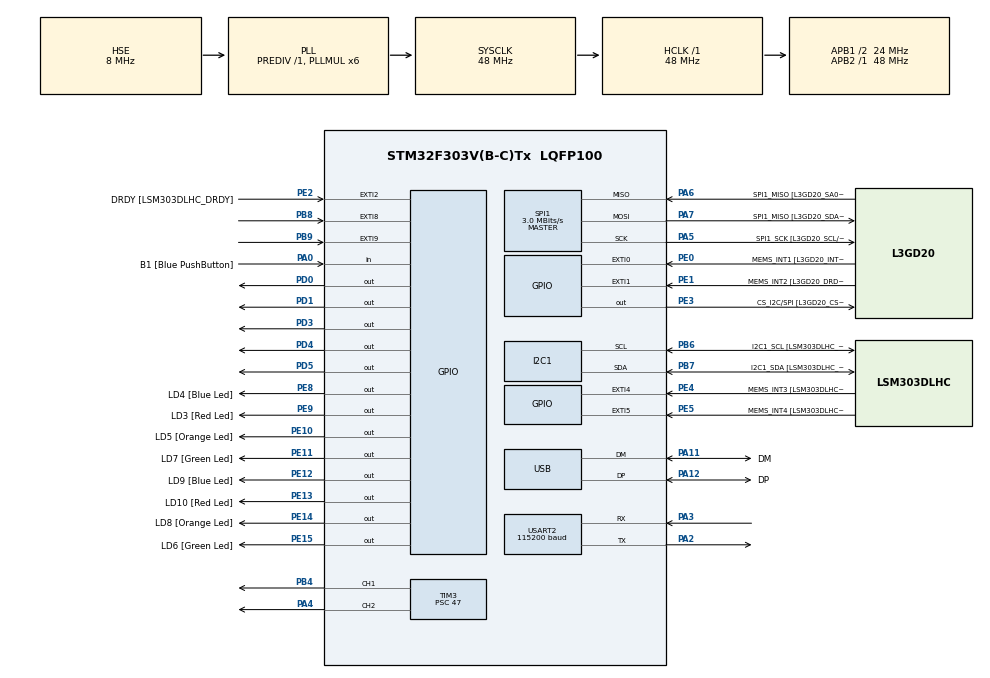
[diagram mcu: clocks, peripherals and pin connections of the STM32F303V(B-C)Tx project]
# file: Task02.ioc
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I2C1.Timing=0x00201D2B
I2C1.Timing-I2C=0x2000090E
Mcu.Family=STM32F3
Mcu.Name=STM32F303V(B-C)Tx
Mcu.Package=LQFP100
NVIC.EXTI9_5_IRQn=true\:0\:2\:false\:false\:true\:true\:true\:true
NVIC.PriorityGroup=NVIC_PRIORITYGROUP_0
NVIC.SPI1_IRQn=true\:0\:0\:false\:false\:true\:true\:true\:true
NVIC.TIM2_IRQn=true\:0\:0\:false\:false\:true\:true\:true\:true
NVIC.TIM3_IRQn=true\:0\:0\:false\:false\:true\:true\:true\:true
PA0.GPIO_Label=B1 [Blue PushButton]
PA0.Signal=GPIO_Input
PA11.GPIO_Label=DM
PA11.Mode=Device
PA11.Signal=USB_DM
PA12.GPIO_Label=DP
PA12.Mode=Device
PA12.Signal=USB_DP
PA13.GPIO_Label=SWDIO
PA13.Mode=Serial_Wire
PA13.Signal=SYS_JTMS-SWDIO
PA14.GPIO_Label=SWCLK
PA14.Mode=Serial_Wire
PA14.Signal=SYS_JTCK-SWCLK
PA2.Mode=Asynchronous
PA2.Signal=USART2_TX
PA3.Mode=Asynchronous
PA3.Signal=USART2_RX
PA4.GPIO_PuPd=GPIO_PULLUP
PA4.Signal=S_TIM3_CH2
PA5.GPIO_Label=SPI1_SCK [L3GD20_SCL/SPC]
PA5.Mode=Full_Duplex_Master
PA5.Signal=SPI1_SCK
PA6.GPIO_Label=SPI1_MISO [L3GD20_SA0/SDO]
PA6.Mode=Full_Duplex_Master
PA6.Signal=SPI1_MISO
PA7.GPIO_Label=SPI1_MISO [L3GD20_SDA/SDI/SDO]
PA7.Mode=Full_Duplex_Master
PA7.Signal=SPI1_MOSI
PB3.GPIO_Label=SWO
PB3.Signal=SYS_JTDO-TRACESWO
PB4.GPIO_PuPd=GPIO_PULLUP
PB4.Signal=S_TIM3_CH1
PB6.GPIO_Label=I2C1_SCL [LSM303DLHC_SCL]
PB6.GPIO_Pu=GPIO_PULLUP
PB6.Mode=I2C
PB6.Signal=I2C1_SCL
PB7.GPIO_Label=I2C1_SDA [LSM303DLHC_SDA]
PB7.GPIO_Pu=GPIO_PULLUP
PB7.Mode=I2C
PB7.Signal=I2C1_SDA
PB8.GPIO_PuPd=GPIO_PULLDOWN
PB8.Signal=GPXTI8
PB9.Signal=GPXTI9
PC14-OSC32_IN.GPIO_Label=OSC32_IN
PC14-OSC32_IN.Signal=RCC_OSC32_IN
PC15-OSC32_OUT.GPIO_Label=OSC32_OUT
PC15-OSC32_OUT.Signal=RCC_OSC32_OUT
PD0.Signal=GPIO_Output
PD1.Signal=GPIO_Output
PD3.Signal=GPIO_Output
PD4.Signal=GPIO_Output
PD5.Signal=GPIO_Output
PE0.GPIO_Label=MEMS_INT1 [L3GD20_INT1]
PE0.GPIO_ModeDefaultEXTI=GPIO_MODE_EVT_RISING
PE0.Signal=GPXTI0
PE1.GPIO_Label=MEMS_INT2 [L3GD20_DRDY/INT2]
PE1.GPIO_ModeDefaultEXTI=GPIO_MODE_EVT_RISING
PE1.Signal=GPXTI1
PE10.GPIO_Label=LD5 [Orange Led]
PE10.Signal=GPIO_Output
PE11.GPIO_Label=LD7 [Green Led]
PE11.Signal=GPIO_Output
PE12.GPIO_Label=LD9 [Blue Led]
PE12.Signal=GPIO_Output
PE13.GPIO_Label=LD10 [Red Led]
PE13.Signal=GPIO_Output
PE14.GPIO_Label=LD8 [Orange Led]
PE14.Signal=GPIO_Output
PE15.GPIO_Label=LD6 [Green Led]
PE15.Signal=GPIO_Output
PE2.GPIO_Label=DRDY [LSM303DLHC_DRDY]
PE2.GPIO_ModeDefaultEXTI=GPIO_MODE_EVT_RISING
PE2.Signal=GPXTI2
PE3.GPIO_Label=CS_I2C/SPI [L3GD20_CS_I2C/SPI]
PE3.Signal=GPIO_Output
PE4.GPIO_Label=MEMS_INT3 [LSM303DLHC_INT1]
PE4.GPIO_ModeDefaultEXTI=GPIO_MODE_EVT_RISING
PE4.Signal=GPXTI4
PE5.GPIO_Label=MEMS_INT4 [LSM303DLHC_INT2]
PE5.GPIO_ModeDefaultEXTI=GPIO_MODE_EVT_RISING
PE5.Signal=GPXTI5
PE8.GPIO_Label=LD4 [Blue Led]
PE8.Signal=GPIO_Output
PE9.GPIO_Label=LD3 [Red Led]
PE9.Signal=GPIO_Output
PF0-OSC_IN.GPIO_Label=OSC_IN
PF0-OSC_IN.Mode=HSE-External-Clock-Source
PF0-OSC_IN.Signal=RCC_OSC_IN
PF1-OSC_OUT.GPIO_Label=OSC_OUT
PF1-OSC_OUT.Signal=RCC_OSC_OUT
ProjectManager.HeapSize=0x200
ProjectManager.StackSize=0x400
ProjectManager.TargetToolchain=CMake
RCC.AHBFreq_Value=48000000
RCC.APB1CLKDivider=RCC_HCLK_DIV2
RCC.APB1Freq_Value=24000000
RCC.APB1TimFreq_Value=48000000
RCC.APB2Freq_Value=48000000
RCC.APB2TimFreq_Value=48000000
RCC.CortexFreq_Value=48000000
RCC.HCLKFreq_Value=48000000
RCC.HSE_VALUE=8000000
RCC.HSI_VALUE=8000000
RCC.LSE_VALUE=32768
RCC.PLLMUL=RCC_PLL_MUL6
RCC.SYSCLKFreq_VALUE=48000000
RCC.SYSCLKSourceVirtual=RCC_SYSCLKSOURCE_PLLCLK
RCC.USBFreq_Value=48000000
SH.S_TIM3_CH1.0=TIM3_CH1,PWM Generation1 CH1
SH.S_TIM3_CH2.0=TIM3_CH2,PWM Generation2 CH2
SPI1.BaudRatePrescaler=SPI_BAUDRATEPRESCALER_16
SPI1.BaudRatePrescaler-Full_Duplex_Master=SPI_BAUDRATEPRESCALER_2
SPI1.CLKPhase=SPI_PHASE_2EDGE
SPI1.CLKPolarity=SPI_POLARITY_HIGH
SPI1.CalculateBaudRate=3.0 MBits/s
SPI1.CalculateBaudRate-Full_Duplex_Master=24.0 MBits/s
SPI1.DataSize=SPI_DATASIZE_8BIT
SPI1.Direction=SPI_DIRECTION_2LINES
SPI1.Mode=SPI_MODE_MASTER
SPI1.Mode-Full_Duplex_Master=SPI_MODE_MASTER
SPI1.VirtualType=VM_MASTER
TIM2.Period=9999
TIM2.Prescaler=47
TIM3.Channel-PWM\ Generation1\ CH1=TIM_CHANNEL_1
TIM3.Channel-PWM\ Generation2\ CH2=TIM_CHANNEL_2
TIM3.Period=999
TIM3.Prescaler=47
USART2.BaudRate=115200
USART2.VirtualMode-Asynchronous=VM_ASYNC
VP_TIM2_VS_ClockSourceINT.Mode=Internal
board=STM32F3DISCOVERY

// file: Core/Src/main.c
/* USER CODE BEGIN Header */
/**
  ******************************************************************************
  * @file           : main.c
  * @brief          : Main program body
  ******************************************************************************
  * @attention
  *
  * Copyright (c) 2026 STMicroelectronics.
  * All rights reserved.
  *
  * This software is licensed under terms that can be found in the LICENSE file
  * in the root directory of this software component.
  * If no LICENSE file comes with this software, it is provided AS-IS.
  *
  ******************************************************************************
  */
/* USER CODE END Header */
#include "main.h"
#include "pid.h"
#include <string.h>
#include <stdio.h>
#include <stdlib.h>
#include <math.h>

I2C_HandleTypeDef hi2c1;

SPI_HandleTypeDef hspi1;

TIM_HandleTypeDef htim2;
TIM_HandleTypeDef htim3;

UART_HandleTypeDef huart2;

PCD_HandleTypeDef hpcd_USB_FS;

void SystemClock_Config(void);
static void MX_GPIO_Init(void);
static void MX_I2C1_Init(void);
static void MX_SPI1_Init(void);
static void MX_TIM2_Init(void);
static void MX_TIM3_Init(void);
static void MX_USART2_UART_Init(void);
static void MX_USB_PCD_Init(void);

/* USER CODE BEGIN 0 */
#define DevAddress 0x19 << 1
#define OUT_X_L  0x28
# define CTRL_REG1 0x20
# define CTRL_REG1_VAL 0b10001111
# define CTRL_REG4 0x23
# define CTRL_REG4_VAL 0b00000000 // FS [1:0] = 00 => +/- 245 dps

// ENCODER DEFINES
#define WHEEL_DIAMETER_MM   65.0f       // change once you measure
#define WHEEL_CIRCUMFERENCE (3.14159f * WHEEL_DIAMETER_MM)
#define PPR         11
#define NOISE_MULT  10      // adjust this based on what you measured above

// Variables to store raw and processed sensor data
float acceleration_x, acceleration_tilt_x, acceleration_y, acceleration_tilt_y, acceleration_z, acceleration_tilt_z;
int16_t gyro_x, gyro_y, gyro_z;
float acc_offset_x = 0, acc_offset_y = 0, acc_offset_z = 0;
int16_t gyro_offset_x = 0, gyro_offset_y = 0, gyro_offset_z = 0;
float angle_x = 0, angle_y = 0, angle_z = 0;
volatile float dt = 0.01f;  // global time step for complementary filter
volatile int display_flag = 0; // Flag to indicate when to print data
PID_Controller pid;
uint8_t direction;
volatile int16_t pwm;

// ENCODER VARIABLES
// PB8 = Left encoder
// PB9 = Right encoder
// Change pins in encoder_init() if your wiring is different
volatile int32_t ticks_left  = 0;
volatile int32_t ticks_right = 0;

float encoder_distance_left_mm(void)
{
    int32_t t;
    __disable_irq();
    t = ticks_left;
    __enable_irq();
    return ((float)t / (PPR * NOISE_MULT)) * WHEEL_CIRCUMFERENCE;
}

float encoder_distance_right_mm(void)
{
    int32_t t;
    __disable_irq();
    t = ticks_right;
    __enable_irq();
    return ((float)t / (PPR * NOISE_MULT)) * WHEEL_CIRCUMFERENCE;
}
// ENCODER FUNCTIONS
void encoder_reset(void)
{
    __disable_irq();          // atomic clear — ticks are written in ISR
    ticks_left  = 0;
    ticks_right = 0;
    __enable_irq();
}

float encoder_distance_avg_mm(void)
{
    return (encoder_distance_left_mm() + encoder_distance_right_mm()) / 2.0f;
}

// ENCODER ISR
// Handles PB8 (left) and PB9 (right) rising-edge interrupts via EXTI9_5
void EXTI9_5_IRQHandler(void)
{
    if (__HAL_GPIO_EXTI_GET_IT(GPIO_PIN_8))
    {
        ticks_left++;
        __HAL_GPIO_EXTI_CLEAR_IT(GPIO_PIN_8);
    }

    if (__HAL_GPIO_EXTI_GET_IT(GPIO_PIN_9))
    {
        ticks_right++;
        __HAL_GPIO_EXTI_CLEAR_IT(GPIO_PIN_9);
    }
}

// Gyro initialization function
void gyro_init ()
{
  // Power on + enable all axes
  uint8_t tx [2] = {CTRL_REG1 , CTRL_REG1_VAL};
  HAL_GPIO_WritePin(GPIOE, GPIO_PIN_3, GPIO_PIN_RESET);
  HAL_SPI_Transmit(&hspi1, tx , 2, HAL_MAX_DELAY);
  HAL_GPIO_WritePin(GPIOE, GPIO_PIN_3, GPIO_PIN_SET);

  // Set full scale range
  uint8_t ttx[2] = {CTRL_REG4, CTRL_REG4_VAL};
  HAL_GPIO_WritePin(GPIOE, GPIO_PIN_3, GPIO_PIN_RESET);
  HAL_SPI_Transmit(&hspi1, ttx, 2, HAL_MAX_DELAY);
  HAL_GPIO_WritePin(GPIOE, GPIO_PIN_3, GPIO_PIN_SET);
}

// Reading gyro data for all axis
void gyro_read_all(int16_t *x, int16_t *y, int16_t *z)
{
    uint8_t tx = OUT_X_L | 0x80 | 0x40;  // read bit + auto-increment bit
    uint8_t rx[6] = {0};

    HAL_GPIO_WritePin(GPIOE, GPIO_PIN_3, GPIO_PIN_RESET);  // CS LOW once
    HAL_SPI_Transmit(&hspi1, &tx, 1, HAL_MAX_DELAY);       // send start register
    HAL_SPI_Receive(&hspi1, rx, 6, HAL_MAX_DELAY);         // read all 6 bytes
    HAL_GPIO_WritePin(GPIOE, GPIO_PIN_3, GPIO_PIN_SET);    // CS HIGH once

    *x = (int16_t)((rx[1] << 8) | rx[0]);  // XH | XL
    *y = (int16_t)((rx[3] << 8) | rx[2]);  // YH | YL
    *z = (int16_t)((rx[5] << 8) | rx[4]);  // ZH | ZL
}

// Reading accelerometer data for all axis
#define CTRL_REG1_A 0x20
#define CTRL_REG4_A 0x23
void Init_LSM()
{
  uint8_t write_reg_1 = 0x67;
  uint8_t write_reg_4 = 0x00;
  HAL_I2C_Mem_Write(&hi2c1, DevAddress, CTRL_REG1_A, I2C_MEMADD_SIZE_8BIT, &write_reg_1, sizeof(write_reg_1), 100);
  HAL_I2C_Mem_Write(&hi2c1, DevAddress, CTRL_REG4_A, I2C_MEMADD_SIZE_8BIT, &write_reg_4, sizeof(write_reg_4), 100);
}

void Read_LSM()
{
  uint8_t low;
  uint8_t high;

  // Read raw X-axis acceleration data
  HAL_I2C_Mem_Read(&hi2c1, DevAddress, 0x28, I2C_MEMADD_SIZE_8BIT, &low, sizeof(low), 100);
  HAL_I2C_Mem_Read(&hi2c1, DevAddress, 0x29, I2C_MEMADD_SIZE_8BIT, &high, sizeof(high), 100);
  int16_t raw_x = (high << 8) | low;

  // Read raw Y-axis acceleration data
  HAL_I2C_Mem_Read(&hi2c1, DevAddress, 0x2A | 0x80, I2C_MEMADD_SIZE_8BIT, &low, 1, HAL_MAX_DELAY);
  HAL_I2C_Mem_Read(&hi2c1, DevAddress, 0x2B | 0x80, I2C_MEMADD_SIZE_8BIT, &high, 1, HAL_MAX_DELAY);
  int16_t raw_y = (int16_t)((high << 8) | low);

  // Read raw Z-axis acceleration data
  HAL_I2C_Mem_Read(&hi2c1, DevAddress, 0x2C | 0x80, I2C_MEMADD_SIZE_8BIT, &low, 1, HAL_MAX_DELAY);
  HAL_I2C_Mem_Read(&hi2c1, DevAddress, 0x2D | 0x80, I2C_MEMADD_SIZE_8BIT, &high, 1, HAL_MAX_DELAY);
  int16_t raw_z = (int16_t)((high << 8) | low);

  // Convert raw data to acceleration in g's
  acceleration_x = (raw_x * 3.9) / 1000;
  acceleration_x -= acc_offset_x;

  acceleration_y = (raw_y * 3.9) / 1000;
  acceleration_y -= acc_offset_y;

  acceleration_z = (raw_z * 3.9) / 1000;
  acceleration_z -= acc_offset_z;

  // Calculate tilt angles using atan2 and convert to degrees
  float accel_angle_x = atan2(acceleration_y, acceleration_z);
  acceleration_tilt_x = accel_angle_x * 57.2958; // Convert to degrees

  float accel_angle_y = atan2(acceleration_x, acceleration_z);
  acceleration_tilt_y = accel_angle_y * 57.2958; // Convert to degrees

  float accel_angle_z = atan2(acceleration_x, acceleration_y);
  acceleration_tilt_z = accel_angle_z * 57.2958; // Convert to degrees

}
void Print_LSM()
{
  char buffer[128];
  float gyro_x_dps = gyro_x * 0.00875f;
  float gyro_y_dps = gyro_y * 0.00875f;
  float gyro_z_dps = gyro_z * 0.00875f;
  sprintf(buffer, "%.2f,%.2f,%.2f,%.2f,%.2f,%.2f\r\n", gyro_x_dps, acceleration_x, gyro_y_dps, acceleration_y, gyro_z_dps, acceleration_z);
  HAL_UART_Transmit(&huart2, (uint8_t*)buffer, strlen(buffer), HAL_MAX_DELAY);
}
void offset_LSM()
{
  for (int i = 0; i < 20; i++)
  {
    Read_LSM();
    gyro_read_all(&gyro_x, &gyro_y, &gyro_z);
    acc_offset_x += acceleration_x;
    gyro_offset_x += gyro_x;
    acc_offset_y += acceleration_y;
    gyro_offset_y += gyro_y;
    acc_offset_z += acceleration_z;
    gyro_offset_z += gyro_z;
    HAL_Delay(10);
  }
  gyro_offset_x /= 20;
  acc_offset_x /= 20;
  gyro_offset_y /= 20;
  acc_offset_y /= 20;
  gyro_offset_z /= 20;
  acc_offset_z /= 20;
}

void angle_calculation(){
  // Complementary filter parameters
  float alpha = 0.98; // Filter coefficient
  // Gyro_dps
  float gyro_x_dps = gyro_x * 0.00875f;
  float gyro_y_dps = gyro_y * 0.00875f;
  float gyro_z_dps = gyro_z * 0.00875f;
  // Calculate angles from complementary filter
  angle_x = alpha * (angle_x + (gyro_x_dps) * dt) + (0.02 * (-acceleration_tilt_x));
  angle_y = alpha * (angle_y + gyro_y_dps * dt) + (0.02 * acceleration_tilt_y);
  angle_z = alpha * (angle_z + gyro_z_dps * dt) + (0.02 * acceleration_tilt_z);
}
void print_angle(){
  char buffer[128];
  sprintf(buffer, "%.2f,%.2f,%.2f\r\n", angle_x, angle_y, angle_z);
  HAL_UART_Transmit(&huart2, (uint8_t*)buffer, strlen(buffer), HAL_MAX_DELAY);
}
// Forward Motor
void forward_motor(uint16_t pwm_value){

    HAL_GPIO_WritePin(GPIOD, GPIO_PIN_4, GPIO_PIN_SET);
    HAL_GPIO_WritePin(GPIOD, GPIO_PIN_5, GPIO_PIN_RESET);
    HAL_GPIO_WritePin(GPIOD, GPIO_PIN_1, GPIO_PIN_RESET);
    HAL_GPIO_WritePin(GPIOD, GPIO_PIN_3, GPIO_PIN_SET);

    uint32_t ARR = pwm_value;
    __HAL_TIM_SET_COMPARE(&htim3, TIM_CHANNEL_1 , ARR);
    __HAL_TIM_SET_COMPARE(&htim3, TIM_CHANNEL_2 , ARR);
}
// Backward Motor
void backward_motor(uint16_t pwm_value){
    HAL_GPIO_WritePin(GPIOD, GPIO_PIN_4, GPIO_PIN_RESET);
    HAL_GPIO_WritePin(GPIOD, GPIO_PIN_5, GPIO_PIN_SET);
    HAL_GPIO_WritePin(GPIOD, GPIO_PIN_1, GPIO_PIN_SET);
    HAL_GPIO_WritePin(GPIOD, GPIO_PIN_3, GPIO_PIN_RESET);

    uint32_t ARR = pwm_value;
    __HAL_TIM_SET_COMPARE(&htim3, TIM_CHANNEL_1 , ARR);
    __HAL_TIM_SET_COMPARE(&htim3, TIM_CHANNEL_2 , ARR);
}

/* Timer ISR (runs at 100 Hz) */
void HAL_TIM_PeriodElapsedCallback(TIM_HandleTypeDef *htim)
{
    if (htim->Instance == TIM2)
    {

        static int counter = 0;

        // Pin toggle to check frequency on oscilloscope
        HAL_GPIO_TogglePin(GPIOD, GPIO_PIN_0);

        // Step 1: read sensors
        Read_LSM();
        gyro_read_all(&gyro_x, &gyro_y, &gyro_z);

        // Step 2: complementary filter
        angle_calculation();

        // PID
        pwm = PID_Compute(&pid, angle_y + 2.2f, &direction);
        // Step 3: control motors
        if (pwm >= 1000) pwm = 999;

        if (direction == 1) // forward
        {
            forward_motor(pwm);
        }
        else // backward
        {
            backward_motor(pwm);
        }

        // Pin toggle to check frequency on oscilloscope
        HAL_GPIO_TogglePin(GPIOD, GPIO_PIN_0);

        // Step 4: flag UART every 10 calls = 10Hz
        counter++;
        if (counter >= 20)
        {
            display_flag = 1;
            counter = 0;
        }
    }
}

void configure_timer_interrupt(uint32_t freq_hz)
{
    __HAL_TIM_SET_AUTORELOAD(&htim2, (1000000 / freq_hz) - 1);
    dt = 1.0f / freq_hz;
}

/* USER CODE END 0 */

int main(void)
{

  /* MCU Configuration--------------------------------------------------------*/

  /* Reset of all peripherals, Initializes the Flash interface and the Systick. */
  HAL_Init();

  /* Configure the system clock */
  SystemClock_Config();

  /* Initialize all configured peripherals */
  MX_GPIO_Init();
  MX_I2C1_Init();
  MX_SPI1_Init();
  MX_TIM2_Init();
  MX_TIM3_Init();
  MX_USART2_UART_Init();
  MX_USB_PCD_Init();
  /* USER CODE BEGIN 2 */
  Init_LSM();
  HAL_Delay(100);
  gyro_init();
  HAL_Delay(100);
  offset_LSM();
  PID_Init(&pid, 45.0f, 1.5f, 9.0f, dt, -1000, 1000, 0.1f);
  configure_timer_interrupt(100);  // set to 100Hz
  HAL_TIM_Base_Start_IT(&htim2);
  HAL_TIM_PWM_Start(&htim3, TIM_CHANNEL_1);
  HAL_TIM_PWM_Start(&htim3, TIM_CHANNEL_2);
  /* USER CODE END 2 */

  /* Infinite loop */
  /* USER CODE BEGIN WHILE */
  while (1)
  {
    if (display_flag)
    {
        display_flag = 0;

        // Print angle and encoder distance for monitoring
        char buffer[128];
        float dist_l = encoder_distance_left_mm();
        float dist_r = encoder_distance_right_mm();
        float dist_avg = encoder_distance_avg_mm();

        sprintf(buffer, "angle:%.2f pwm:%d L:%.1fmm R:%.1fmm avg:%.1fmm\r\n",
                angle_y, pwm, dist_l, dist_r, dist_avg);

        HAL_UART_Transmit(&huart2, (uint8_t*)buffer, strlen(buffer), HAL_MAX_DELAY);
    }
  }
  /* USER CODE END 3 */
}

void SystemClock_Config(void)
{
  RCC_OscInitTypeDef RCC_OscInitStruct = {0};
  RCC_ClkInitTypeDef RCC_ClkInitStruct = {0};
  RCC_PeriphCLKInitTypeDef PeriphClkInit = {0};

  /** Initializes the RCC Oscillators according to the specified parameters
  * in the RCC_OscInitTypeDef structure.
  */
  RCC_OscInitStruct.OscillatorType = RCC_OSCILLATORTYPE_HSI|RCC_OSCILLATORTYPE_HSE;
  RCC_OscInitStruct.HSEState = RCC_HSE_BYPASS;
  RCC_OscInitStruct.HSEPredivValue = RCC_HSE_PREDIV_DIV1;
  RCC_OscInitStruct.HSIState = RCC_HSI_ON;
  RCC_OscInitStruct.HSICalibrationValue = RCC_HSICALIBRATION_DEFAULT;
  RCC_OscInitStruct.PLL.PLLState = RCC_PLL_ON;
  RCC_OscInitStruct.PLL.PLLSource = RCC_PLLSOURCE_HSE;
  RCC_OscInitStruct.PLL.PLLMUL = RCC_PLL_MUL6;
  if (HAL_RCC_OscConfig(&RCC_OscInitStruct) != HAL_OK)
  {
    Error_Handler();
  }

  /** Initializes the CPU, AHB and APB buses clocks
  */
  RCC_ClkInitStruct.ClockType = RCC_CLOCKTYPE_HCLK|RCC_CLOCKTYPE_SYSCLK
                              |RCC_CLOCKTYPE_PCLK1|RCC_CLOCKTYPE_PCLK2;
  RCC_ClkInitStruct.SYSCLKSource = RCC_SYSCLKSOURCE_PLLCLK;
  RCC_ClkInitStruct.AHBCLKDivider = RCC_SYSCLK_DIV1;
  RCC_ClkInitStruct.APB1CLKDivider = RCC_HCLK_DIV2;
  RCC_ClkInitStruct.APB2CLKDivider = RCC_HCLK_DIV1;

  if (HAL_RCC_ClockConfig(&RCC_ClkInitStruct, FLASH_LATENCY_1) != HAL_OK)
  {
    Error_Handler();
  }
  PeriphClkInit.PeriphClockSelection = RCC_PERIPHCLK_USB|RCC_PERIPHCLK_USART2
                              |RCC_PERIPHCLK_I2C1;
  PeriphClkInit.Usart2ClockSelection = RCC_USART2CLKSOURCE_PCLK1;
  PeriphClkInit.I2c1ClockSelection = RCC_I2C1CLKSOURCE_HSI;
  PeriphClkInit.USBClockSelection = RCC_USBCLKSOURCE_PLL;
  if (HAL_RCCEx_PeriphCLKConfig(&PeriphClkInit) != HAL_OK)
  {
    Error_Handler();
  }
}

static void MX_I2C1_Init(void)
{

  hi2c1.Instance = I2C1;
  hi2c1.Init.Timing = 0x00201D2B;
  hi2c1.Init.OwnAddress1 = 0;
  hi2c1.Init.AddressingMode = I2C_ADDRESSINGMODE_7BIT;
  hi2c1.Init.DualAddressMode = I2C_DUALADDRESS_DISABLE;
  hi2c1.Init.OwnAddress2 = 0;
  hi2c1.Init.OwnAddress2Masks = I2C_OA2_NOMASK;
  hi2c1.Init.GeneralCallMode = I2C_GENERALCALL_DISABLE;
  hi2c1.Init.NoStretchMode = I2C_NOSTRETCH_DISABLE;
  if (HAL_I2C_Init(&hi2c1) != HAL_OK)
  {
    Error_Handler();
  }

  /** Configure Analogue filter
  */
  if (HAL_I2CEx_ConfigAnalogFilter(&hi2c1, I2C_ANALOGFILTER_ENABLE) != HAL_OK)
  {
    Error_Handler();
  }

  /** Configure Digital filter
  */
  if (HAL_I2CEx_ConfigDigitalFilter(&hi2c1, 0) != HAL_OK)
  {
    Error_Handler();
  }

}

static void MX_SPI1_Init(void)
{

  /* SPI1 parameter configuration*/
  hspi1.Instance = SPI1;
  hspi1.Init.Mode = SPI_MODE_MASTER;
  hspi1.Init.Direction = SPI_DIRECTION_2LINES;
  hspi1.Init.DataSize = SPI_DATASIZE_8BIT;
  hspi1.Init.CLKPolarity = SPI_POLARITY_HIGH;
  hspi1.Init.CLKPhase = SPI_PHASE_2EDGE;
  hspi1.Init.NSS = SPI_NSS_SOFT;
  hspi1.Init.BaudRatePrescaler = SPI_BAUDRATEPRESCALER_16;
  hspi1.Init.FirstBit = SPI_FIRSTBIT_MSB;
  hspi1.Init.TIMode = SPI_TIMODE_DISABLE;
  hspi1.Init.CRCCalculation = SPI_CRCCALCULATION_DISABLE;
  hspi1.Init.CRCPolynomial = 7;
  hspi1.Init.CRCLength = SPI_CRC_LENGTH_DATASIZE;
  hspi1.Init.NSSPMode = SPI_NSS_PULSE_DISABLE;
  if (HAL_SPI_Init(&hspi1) != HAL_OK)
  {
    Error_Handler();
  }

}

static void MX_TIM2_Init(void)
{

  TIM_ClockConfigTypeDef sClockSourceConfig = {0};
  TIM_MasterConfigTypeDef sMasterConfig = {0};

  htim2.Instance = TIM2;
  htim2.Init.Prescaler = 47;
  htim2.Init.CounterMode = TIM_COUNTERMODE_UP;
  htim2.Init.Period = 9999;
  htim2.Init.ClockDivision = TIM_CLOCKDIVISION_DIV1;
  htim2.Init.AutoReloadPreload = TIM_AUTORELOAD_PRELOAD_DISABLE;
  if (HAL_TIM_Base_Init(&htim2) != HAL_OK)
  {
    Error_Handler();
  }
  sClockSourceConfig.ClockSource = TIM_CLOCKSOURCE_INTERNAL;
  if (HAL_TIM_ConfigClockSource(&htim2, &sClockSourceConfig) != HAL_OK)
  {
    Error_Handler();
  }
  sMasterConfig.MasterOutputTrigger = TIM_TRGO_RESET;
  sMasterConfig.MasterSlaveMode = TIM_MASTERSLAVEMODE_DISABLE;
  if (HAL_TIMEx_MasterConfigSynchronization(&htim2, &sMasterConfig) != HAL_OK)
  {
    Error_Handler();
  }

}

static void MX_TIM3_Init(void)
{

  TIM_MasterConfigTypeDef sMasterConfig = {0};
  TIM_OC_InitTypeDef sConfigOC = {0};

  htim3.Instance = TIM3;
  htim3.Init.Prescaler = 47;
  htim3.Init.CounterMode = TIM_COUNTERMODE_UP;
  htim3.Init.Period = 999;
  htim3.Init.ClockDivision = TIM_CLOCKDIVISION_DIV1;
  htim3.Init.AutoReloadPreload = TIM_AUTORELOAD_PRELOAD_DISABLE;
  if (HAL_TIM_PWM_Init(&htim3) != HAL_OK)
  {
    Error_Handler();
  }
  sMasterConfig.MasterOutputTrigger = TIM_TRGO_RESET;
  sMasterConfig.MasterSlaveMode = TIM_MASTERSLAVEMODE_DISABLE;
  if (HAL_TIMEx_MasterConfigSynchronization(&htim3, &sMasterConfig) != HAL_OK)
  {
    Error_Handler();
  }
  sConfigOC.OCMode = TIM_OCMODE_PWM1;
  sConfigOC.Pulse = 0;
  sConfigOC.OCPolarity = TIM_OCPOLARITY_HIGH;
  sConfigOC.OCFastMode = TIM_OCFAST_DISABLE;
  if (HAL_TIM_PWM_ConfigChannel(&htim3, &sConfigOC, TIM_CHANNEL_1) != HAL_OK)
  {
    Error_Handler();
  }
  if (HAL_TIM_PWM_ConfigChannel(&htim3, &sConfigOC, TIM_CHANNEL_2) != HAL_OK)
  {
    Error_Handler();
  }
  HAL_TIM_MspPostInit(&htim3);

}

static void MX_USART2_UART_Init(void)
{

  huart2.Instance = USART2;
  huart2.Init.BaudRate = 115200;
  huart2.Init.WordLength = UART_WORDLENGTH_8B;
  huart2.Init.StopBits = UART_STOPBITS_1;
  huart2.Init.Parity = UART_PARITY_NONE;
  huart2.Init.Mode = UART_MODE_TX_RX;
  huart2.Init.HwFlowCtl = UART_HWCONTROL_NONE;
  huart2.Init.OverSampling = UART_OVERSAMPLING_16;
  huart2.Init.OneBitSampling = UART_ONE_BIT_SAMPLE_DISABLE;
  huart2.AdvancedInit.AdvFeatureInit = UART_ADVFEATURE_NO_INIT;
  if (HAL_UART_Init(&huart2) != HAL_OK)
  {
    Error_Handler();
  }

}

static void MX_USB_PCD_Init(void)
{

  hpcd_USB_FS.Instance = USB;
  hpcd_USB_FS.Init.dev_endpoints = 8;
  hpcd_USB_FS.Init.speed = PCD_SPEED_FULL;
  hpcd_USB_FS.Init.phy_itface = PCD_PHY_EMBEDDED;
  hpcd_USB_FS.Init.low_power_enable = DISABLE;
  hpcd_USB_FS.Init.battery_charging_enable = DISABLE;
  if (HAL_PCD_Init(&hpcd_USB_FS) != HAL_OK)
  {
    Error_Handler();
  }

}

static void MX_GPIO_Init(void)
{
  GPIO_InitTypeDef GPIO_InitStruct = {0};

  /* GPIO Ports Clock Enable */
  __HAL_RCC_GPIOE_CLK_ENABLE();
  __HAL_RCC_GPIOC_CLK_ENABLE();
  __HAL_RCC_GPIOF_CLK_ENABLE();
  __HAL_RCC_GPIOA_CLK_ENABLE();
  __HAL_RCC_GPIOD_CLK_ENABLE();
  __HAL_RCC_GPIOB_CLK_ENABLE();

  /*Configure GPIO pin Output Level */
  HAL_GPIO_WritePin(GPIOE, CS_I2C_SPI_Pin|LD4_Pin|LD3_Pin|LD5_Pin
                          |LD7_Pin|LD9_Pin|LD10_Pin|LD8_Pin
                          |LD6_Pin, GPIO_PIN_RESET);

  /*Configure GPIO pin Output Level */
  HAL_GPIO_WritePin(GPIOD, GPIO_PIN_0|GPIO_PIN_1|GPIO_PIN_3|GPIO_PIN_4
                          |GPIO_PIN_5, GPIO_PIN_RESET);

  /*Configure GPIO pins : DRDY_Pin MEMS_INT3_Pin MEMS_INT4_Pin MEMS_INT1_Pin
                           MEMS_INT2_Pin */
  GPIO_InitStruct.Pin = DRDY_Pin|MEMS_INT3_Pin|MEMS_INT4_Pin|MEMS_INT1_Pin
                          |MEMS_INT2_Pin;
  GPIO_InitStruct.Mode = GPIO_MODE_EVT_RISING;
  GPIO_InitStruct.Pull = GPIO_NOPULL;
  HAL_GPIO_Init(GPIOE, &GPIO_InitStruct);

  /*Configure GPIO pins : CS_I2C_SPI_Pin LD4_Pin LD3_Pin LD5_Pin
                           LD7_Pin LD9_Pin LD10_Pin LD8_Pin
                           LD6_Pin */
  GPIO_InitStruct.Pin = CS_I2C_SPI_Pin|LD4_Pin|LD3_Pin|LD5_Pin
                          |LD7_Pin|LD9_Pin|LD10_Pin|LD8_Pin
                          |LD6_Pin;
  GPIO_InitStruct.Mode = GPIO_MODE_OUTPUT_PP;
  GPIO_InitStruct.Pull = GPIO_NOPULL;
  GPIO_InitStruct.Speed = GPIO_SPEED_FREQ_LOW;
  HAL_GPIO_Init(GPIOE, &GPIO_InitStruct);

  /*Configure GPIO pin : B1_Pin */
  GPIO_InitStruct.Pin = B1_Pin;
  GPIO_InitStruct.Mode = GPIO_MODE_INPUT;
  GPIO_InitStruct.Pull = GPIO_NOPULL;
  HAL_GPIO_Init(B1_GPIO_Port, &GPIO_InitStruct);

  /*Configure GPIO pins : PD0 PD1 PD3 PD4
                           PD5 */
  GPIO_InitStruct.Pin = GPIO_PIN_0|GPIO_PIN_1|GPIO_PIN_3|GPIO_PIN_4
                          |GPIO_PIN_5;
  GPIO_InitStruct.Mode = GPIO_MODE_OUTPUT_PP;
  GPIO_InitStruct.Pull = GPIO_NOPULL;
  GPIO_InitStruct.Speed = GPIO_SPEED_FREQ_LOW;
  HAL_GPIO_Init(GPIOD, &GPIO_InitStruct);

  /*Configure GPIO pin : PB8 */
  GPIO_InitStruct.Pin = GPIO_PIN_8;
  GPIO_InitStruct.Mode = GPIO_MODE_IT_RISING;
  GPIO_InitStruct.Pull = GPIO_PULLDOWN;
  HAL_GPIO_Init(GPIOB, &GPIO_InitStruct);

  /*Configure GPIO pin : PB9 */
  GPIO_InitStruct.Pin = GPIO_PIN_9;
  GPIO_InitStruct.Mode = GPIO_MODE_IT_RISING;
  GPIO_InitStruct.Pull = GPIO_NOPULL;
  HAL_GPIO_Init(GPIOB, &GPIO_InitStruct);

  /* EXTI interrupt init*/
  HAL_NVIC_SetPriority(EXTI9_5_IRQn, 2, 0);
  HAL_NVIC_EnableIRQ(EXTI9_5_IRQn);

}

void Error_Handler(void)
{
  __disable_irq();
  while (1)
  {
  }
}
